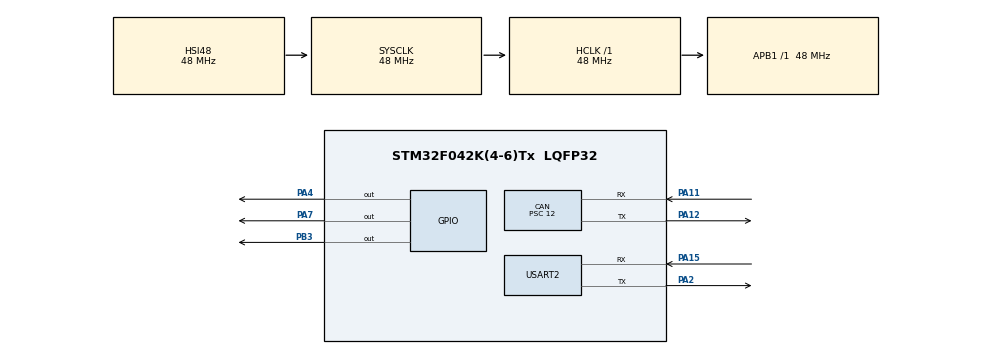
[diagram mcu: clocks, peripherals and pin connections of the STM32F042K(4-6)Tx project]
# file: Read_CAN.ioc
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CAN.BS1=CAN_BS1_13TQ
CAN.BS2=CAN_BS2_2TQ
CAN.CalculateTimeQuantum=250.0
CAN.Prescaler=12
Mcu.Family=STM32F0
Mcu.Name=STM32F042K(4-6)Tx
Mcu.Package=LQFP32
NVIC.CEC_CAN_IRQn=true\:0\:0\:false\:false\:true\:true\:true
NVIC.RCC_CRS_IRQn=true\:0\:0\:false\:false\:true\:true\:false
PA11.Mode=Master
PA11.Signal=CAN_RX
PA12.Mode=Master
PA12.Signal=CAN_TX
PA15.Mode=Asynchronous
PA15.Signal=USART2_RX
PA2.Mode=Asynchronous
PA2.Signal=USART2_TX
PA4.Signal=GPIO_Output
PA7.Signal=GPIO_Output
PB3.Signal=GPIO_Output
PF0-OSC_IN.Mode=HSE-External-Oscillator
PF0-OSC_IN.Signal=RCC_OSC_IN
PF1-OSC_OUT.Mode=HSE-External-Oscillator
PF1-OSC_OUT.Signal=RCC_OSC_OUT
ProjectManager.HeapSize=0x200
ProjectManager.StackSize=0x400
ProjectManager.TargetToolchain=STM32CubeIDE
RCC.AHBFreq_Value=48000000
RCC.APB1Freq_Value=48000000
RCC.APB1TimFreq_Value=48000000
RCC.HCLKFreq_Value=48000000
RCC.PLLDivider=RCC_PREDIV_DIV2
RCC.PLLMUL=RCC_PLL_MUL8
RCC.PLLSourceVirtual=RCC_PLLSOURCE_HSE
RCC.SYSCLKFreq_VALUE=48000000
RCC.SYSCLKSource=RCC_SYSCLKSOURCE_HSI48
USART2.VirtualMode-Asynchronous=VM_ASYNC
board=NUCLEO-F042K6

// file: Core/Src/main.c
/* USER CODE BEGIN Header */
/**
  ******************************************************************************
  * @file           : main.c
  * @brief          : Main program body
  ******************************************************************************
  * @attention
  *
  * <h2><center>&copy; Copyright (c) 2020 STMicroelectronics.
  * All rights reserved.</center></h2>
  *
  * This software component is licensed by ST under BSD 3-Clause license,
  * the "License"; You may not use this file except in compliance with the
  * License. You may obtain a copy of the License at:
  *                        opensource.org/licenses/BSD-3-Clause
  *
  ******************************************************************************
  */
/* USER CODE END Header */
#include "main.h"

CAN_HandleTypeDef hcan;

UART_HandleTypeDef huart2;

/* USER CODE BEGIN PV */
//uint8_t txdata[30] =  "Hello Welcome\n";
uint32_t RxFifo;
/* USER CODE END PV */

void SystemClock_Config(void);
static void MX_GPIO_Init(void);
static void MX_CAN_Init(void);
static void MX_USART2_UART_Init(void);
/* USER CODE BEGIN PFP */
CAN_RxHeaderTypeDef rxHeader; //CAN Bus Transmit Header
CAN_TxHeaderTypeDef txHeader; //CAN Bus Receive Header
uint8_t canRX[8] = {0,0,0,0,0,0,0,0};  //CAN Bus Receive Buffer
CAN_FilterTypeDef canfil; //CAN Bus Filter
uint32_t canMailbox; //CAN Bus Mail box variable
/* USER CODE END PFP */

/* USER CODE BEGIN 0 */
uint8_t txdata[30] =  "Main Loop \n";
CAN_TxHeaderTypeDef   TxHeader;
CAN_RxHeaderTypeDef   RxHeader;
uint8_t               TxData[8];
uint8_t               RxData[8];
uint32_t              TxMailbox;
uint32_t              RxMailbox;
CAN_TxHeaderTypeDef pHeader; //declare a specific header for message transmittions
CAN_RxHeaderTypeDef pRxHeader; //declare header for message reception
uint32_t TxMailbox;
uint8_t a,r; //declare byte to be transmitted //declare a receive byte
CAN_FilterTypeDef sFilterConfig={0}; //declare CAN filter structure
uint8_t newline[2] = "\n"; //RxData[0];
uint8_t space[2] = "|"; //RxData[0];

/* USER CODE END 0 */

int main(void)
{
  /* USER CODE BEGIN 1 */
	  uint32_t out=12;

  /* USER CODE END 1 */

  /* MCU Configuration--------------------------------------------------------*/

  /* Reset of all peripherals, Initializes the Flash interface and the Systick. */
  HAL_Init();

  /* Configure the system clock */
  SystemClock_Config();

  /* Initialize all configured peripherals */
  MX_GPIO_Init();
  MX_CAN_Init();
  MX_USART2_UART_Init();
  /* USER CODE BEGIN 2 */

//	pHeader.DLC=1; //give message size of 1 byte
//	pHeader.IDE=CAN_ID_STD; //set identifier to standard
//	pHeader.RTR=CAN_RTR_DATA; //set data type to remote transmission request?
//	pHeader.StdId=0x244; //define a standard identifier, used for message identification by filters (switch this for the other microcontroller)
//
//	//filter one (stack light blink)
//	sFilterConfig.FilterFIFOAssignment=CAN_FILTER_FIFO0; //set fifo assignment
//	sFilterConfig.FilterIdHigh=0x1fff; //the ID that the filter looks for (switch this for the other microcontroller)
//	sFilterConfig.FilterIdLow=0xffff;
//	sFilterConfig.FilterMaskIdHigh=0;
//	sFilterConfig.FilterMaskIdLow=0;
//	sFilterConfig.FilterScale=CAN_FILTERSCALE_16BIT; //set filter scale
//	sFilterConfig.FilterActivation=ENABLE;

//	HAL_CAN_Start(&hcan); //start CAN
	HAL_CAN_ActivateNotification(&hcan, CAN_IT_RX_FIFO0_MSG_PENDING); //enable interrupts

//	HAL_CAN_ConfigFilter(&hcan,&canfil); //Initialize CAN Filter

  /* USER CODE END 2 */

  /* Infinite loop */
  while (1)
  {

  }
}

void SystemClock_Config(void)
{
  RCC_OscInitTypeDef RCC_OscInitStruct = {0};
  RCC_ClkInitTypeDef RCC_ClkInitStruct = {0};

  /** Initializes the RCC Oscillators according to the specified parameters
  * in the RCC_OscInitTypeDef structure.
  */
  RCC_OscInitStruct.OscillatorType = RCC_OSCILLATORTYPE_HSI48;
  RCC_OscInitStruct.HSI48State = RCC_HSI48_ON;
  RCC_OscInitStruct.PLL.PLLState = RCC_PLL_NONE;
  if (HAL_RCC_OscConfig(&RCC_OscInitStruct) != HAL_OK)
  {
    Error_Handler();
  }
  /** Initializes the CPU, AHB and APB buses clocks
  */
  RCC_ClkInitStruct.ClockType = RCC_CLOCKTYPE_HCLK|RCC_CLOCKTYPE_SYSCLK
                              |RCC_CLOCKTYPE_PCLK1;
  RCC_ClkInitStruct.SYSCLKSource = RCC_SYSCLKSOURCE_HSI48;
  RCC_ClkInitStruct.AHBCLKDivider = RCC_SYSCLK_DIV1;
  RCC_ClkInitStruct.APB1CLKDivider = RCC_HCLK_DIV1;

  if (HAL_RCC_ClockConfig(&RCC_ClkInitStruct, FLASH_LATENCY_1) != HAL_OK)
  {
    Error_Handler();
  }
}

static void MX_CAN_Init(void)
{

  hcan.Instance = CAN;
  hcan.Init.Prescaler = 12;
  hcan.Init.Mode = CAN_MODE_NORMAL;
  hcan.Init.SyncJumpWidth = CAN_SJW_1TQ;
  hcan.Init.TimeSeg1 = CAN_BS1_13TQ;
  hcan.Init.TimeSeg2 = CAN_BS2_2TQ;
  hcan.Init.TimeTriggeredMode = DISABLE;
  hcan.Init.AutoBusOff = DISABLE;
  hcan.Init.AutoWakeUp = DISABLE;
  hcan.Init.AutoRetransmission = DISABLE;
  hcan.Init.ReceiveFifoLocked = DISABLE;
  hcan.Init.TransmitFifoPriority = DISABLE;
  if (HAL_CAN_Init(&hcan) != HAL_OK)
  {
    Error_Handler();
  }
  /* USER CODE BEGIN CAN_Init 2 */

   CAN_FilterTypeDef sFilterConfig = {0};
   sFilterConfig.FilterBank = 0;
   sFilterConfig.FilterMode = CAN_FILTERMODE_IDMASK;
   sFilterConfig.FilterScale = CAN_FILTERSCALE_32BIT;
   sFilterConfig.FilterIdHigh = 0x0000;
   sFilterConfig.FilterIdLow = 0x0000;
   sFilterConfig.FilterMaskIdHigh = 0x0000;
   sFilterConfig.FilterMaskIdHigh = 0x0000;
   sFilterConfig.FilterFIFOAssignment = CAN_RX_FIFO0;
   sFilterConfig.FilterActivation = ENABLE;
   sFilterConfig.SlaveStartFilterBank = 14;

   if (HAL_CAN_ConfigFilter(&hcan, &sFilterConfig) != HAL_OK){
 	  Error_Handler();
   }

   if (HAL_CAN_Start(&hcan) != HAL_OK) {
 	  Error_Handler();
   }
  /* USER CODE END CAN_Init 2 */

}

static void MX_USART2_UART_Init(void)
{

  huart2.Instance = USART2;
  huart2.Init.BaudRate = 38400;
  huart2.Init.WordLength = UART_WORDLENGTH_8B;
  huart2.Init.StopBits = UART_STOPBITS_1;
  huart2.Init.Parity = UART_PARITY_NONE;
  huart2.Init.Mode = UART_MODE_TX_RX;
  huart2.Init.HwFlowCtl = UART_HWCONTROL_NONE;
  huart2.Init.OverSampling = UART_OVERSAMPLING_16;
  huart2.Init.OneBitSampling = UART_ONE_BIT_SAMPLE_DISABLE;
  huart2.AdvancedInit.AdvFeatureInit = UART_ADVFEATURE_NO_INIT;
  if (HAL_UART_Init(&huart2) != HAL_OK)
  {
    Error_Handler();
  }

}

static void MX_GPIO_Init(void)
{
  GPIO_InitTypeDef GPIO_InitStruct = {0};

  /* GPIO Ports Clock Enable */
  __HAL_RCC_GPIOF_CLK_ENABLE();
  __HAL_RCC_GPIOA_CLK_ENABLE();
  __HAL_RCC_GPIOB_CLK_ENABLE();

  /*Configure GPIO pin Output Level */
  HAL_GPIO_WritePin(GPIOA, GPIO_PIN_4|GPIO_PIN_7, GPIO_PIN_RESET);

  /*Configure GPIO pin Output Level */
  HAL_GPIO_WritePin(GPIOB, GPIO_PIN_3, GPIO_PIN_RESET);

  /*Configure GPIO pins : PA4 PA7 */
  GPIO_InitStruct.Pin = GPIO_PIN_4|GPIO_PIN_7;
  GPIO_InitStruct.Mode = GPIO_MODE_OUTPUT_PP;
  GPIO_InitStruct.Pull = GPIO_NOPULL;
  GPIO_InitStruct.Speed = GPIO_SPEED_FREQ_LOW;
  HAL_GPIO_Init(GPIOA, &GPIO_InitStruct);

  /*Configure GPIO pin : PB3 */
  GPIO_InitStruct.Pin = GPIO_PIN_3;
  GPIO_InitStruct.Mode = GPIO_MODE_OUTPUT_PP;
  GPIO_InitStruct.Pull = GPIO_NOPULL;
  GPIO_InitStruct.Speed = GPIO_SPEED_FREQ_LOW;
  HAL_GPIO_Init(GPIOB, &GPIO_InitStruct);

}

void Error_Handler(void)
{
  /* USER CODE BEGIN Error_Handler_Debug */
  /* User can add his own implementation to report the HAL error return state */
	 HAL_GPIO_TogglePin(GPIOA,GPIO_PIN_7);
  /* USER CODE END Error_Handler_Debug */
}

/************************ (C) COPYRIGHT STMicroelectronics *****END OF FILE****/
